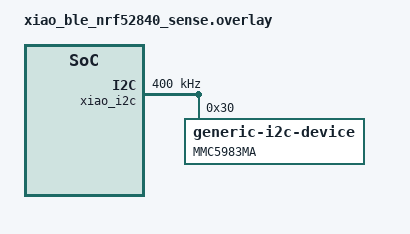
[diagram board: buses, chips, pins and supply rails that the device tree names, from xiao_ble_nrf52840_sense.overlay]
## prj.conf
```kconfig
# ==========================================
# CONFIGURACIÓN DE PRODUCCIÓN (FINAL)
# ==========================================
CONFIG_BT=y
CONFIG_BT_PERIPHERAL=y
CONFIG_BT_DEVICE_NAME="RehabIMU"
CONFIG_BT_MAX_CONN=1
CONFIG_BT_MAX_PAIRED=1
CONFIG_REBOOT=y

# Sensores y Hardware
CONFIG_I2C=y
CONFIG_SENSOR=y
CONFIG_ADC=y
CONFIG_GPIO=y
CONFIG_FPU=y
CONFIG_CBPRINTF_FP_SUPPORT=y

# Ahorro de Energía (Logs desactivados)
CONFIG_LOG=n
CONFIG_PRINTK=n
CONFIG_SERIAL=n
CONFIG_CONSOLE=n
CONFIG_UART_CONSOLE=n
```

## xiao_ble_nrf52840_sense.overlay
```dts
&xiao_i2c {
    status = "okay";
    clock-frequency = <I2C_BITRATE_FAST>;
    
    mmc5983ma@30 {
        compatible = "generic-i2c-device";
        reg = <0x30>;
        label = "MMC5983MA";
    };
};
```

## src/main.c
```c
/** * @file main.c 
 * @brief REHAB IMU — Calibración robusta, beta adaptativo, contadores independientes
 *
 * Cambios principales:
 * 1. Calibración IMU: Comprueba la varianza del giroscopio. Si detecta movimiento 
 * descarta muestras, espera 1 s y reintenta (hasta 5 veces). Fallback a últimas lecturas.
 * 2. Calibración FSR: Comprueba varianza y valor absoluto. Reintenta si hay presión (hasta 3 veces).
 * 3. Beta adaptativo de Madgwick: En reposo baja a 0.033 para reducir el jitter. 
 * Al manipular, sube a 0.1 para mantener reactividad.
 * 4. Contadores de notificación independientes para IMU y FSR.
 *
 * COMPATIBILIDAD: imu_packet_t pasa a 20 bytes (4 floats de quaternion + 1 float de movimiento lineal).
 * Paquete FSR sigue siendo 4 bytes (int32_t). UUIDs y nombre BLE idénticos.
 */ 

#include <zephyr/kernel.h>
#include <zephyr/device.h>
#include <zephyr/drivers/sensor.h>
#include <zephyr/drivers/adc.h>
#include <zephyr/drivers/i2c.h>
#include <zephyr/bluetooth/bluetooth.h>
#include <zephyr/bluetooth/uuid.h>
#include <zephyr/bluetooth/gatt.h>
#include <zephyr/bluetooth/conn.h>
#include <zephyr/bluetooth/services/bas.h>
#include <zephyr/drivers/gpio.h>
#include <zephyr/sys/reboot.h>
#include <math.h>
#include <string.h>

/* --- Parámetros de Madgwick y Beta Adaptativo --- */
/* MADGWICK_BETA_REST: Filtra el ruido del acelerómetro en reposo. */
#define MADGWICK_BETA_REST       0.033f
/* MADGWICK_BETA_MOVING: Reactividad alta para seguir rotaciones rápidas. */
#define MADGWICK_BETA_MOVING     0.1f
/* GYRO_MOTION_THRESHOLD: Por debajo (~8.6°/s) se considera reposo. */
#define GYRO_MOTION_THRESHOLD    0.15f
#define BETA_LERP_RATE           0.05f
#define ACCEL_BASELINE_LERP_RATE 0.02f
#define ACCEL_MOTION_LERP_RATE   0.60f
#define ACCEL_MOTION_DECAY_RATE  0.25f

/* --- Umbrales de Calibración --- */
/* GYRO_VARIANCE_LIMIT: Límite para considerar la IMU en reposo (< 0.01 rad²/s²). */
#define GYRO_VARIANCE_LIMIT      0.01f
#define CALIB_MAX_ATTEMPTS_IMU   5
#define CALIB_MAX_ATTEMPTS_FSR   3
/* FSR_CALIB_MAX_VARIANCE: Varianza máxima permitida para calibrar el FSR. */
#define FSR_CALIB_MAX_VARIANCE   100
/* FSR_CALIB_MAX_MEAN: Si el valor medio supera 200, se asume presión intencional. */
#define FSR_CALIB_MAX_MEAN       200

/* --- Configuración de Hardware --- */
#define BATTERY_READ_INTERVAL_MS 10000
#define VBAT_ENABLE_GPIO_NODE    DT_NODELABEL(gpio0)
#define VBAT_ENABLE_PIN          14

typedef enum { STATE_IDLE, STATE_CONNECTED } system_state_t;
static system_state_t current_state = STATE_IDLE; 
static struct bt_conn *current_conn = NULL; 

/* --- Definición de UUIDs BLE --- */
#define BT_UUID_CUSTOM_SERVICE_VAL BT_UUID_128_ENCODE(0x12345678,0x1234,0x5678,0x1234,0x56789abcdef0) 
#define BT_UUID_CUSTOM_IMU_CHAR_VAL BT_UUID_128_ENCODE(0x12345678,0x1234,0x5678,0x1234,0x56789abcdef1) 
#define BT_UUID_CUSTOM_FSR_CHAR_VAL BT_UUID_128_ENCODE(0x12345678,0x1234,0x5678,0x1234,0x56789abcdef2) 

/* --- Configuración ADC --- */
#define ADC_DEVICE_NODE DT_NODELABEL(adc)
#define ADC_RESOLUTION 12
#define ADC_GAIN ADC_GAIN_1_2 
#define ADC_REFERENCE ADC_REF_INTERNAL
#define ADC_ACQUISITION_TIME ADC_ACQ_TIME_DEFAULT
#define ADC_CHANNEL_ID_FSR 0
#define ADC_CHANNEL_ID_BAT 1 

#ifndef NRF_SAADC_INPUT_AIN1
#define NRF_SAADC_INPUT_AIN1 2
#endif
#ifndef NRF_SAADC_INPUT_AIN7
#define NRF_SAADC_INPUT_AIN7 8
#endif 
#ifndef BT_DATA_TX_POWER_LEVEL
#define BT_DATA_TX_POWER_LEVEL 0x0A
#endif 

/* --- Estructuras de Datos --- */
typedef struct __attribute__((packed)) { 
    float q0, q1, q2, q3;
    float linear_motion;
} imu_packet_t;

typedef struct { 
    float q0, q1, q2, q3; 
    float beta; 
} madgwick_filter_t; 

/* --- Variables Globales --- */
static const struct device *adc_dev = DEVICE_DT_GET(ADC_DEVICE_NODE);
static const struct device *lsm6dsl_dev;
static imu_packet_t current_packet; 
static int32_t current_fsr_value = 0;
static int32_t fsr_offset = 0;
static uint8_t current_battery_level = 100;
static float accel_offset[3] = {0.0f}, gyro_offset[3] = {0.0f};
static bool is_imu_notify_enabled = false;
static bool is_fsr_notify_enabled = false;
static bool is_bat_notify_enabled = false;
static madgwick_filter_t madgwick_state = { .q0 = 1.0f, .beta = MADGWICK_BETA_MOVING };
static float accel_motion_filtered = 0.0f;
static float accel_baseline[3] = {0.0f, 0.0f, 0.0f};
static bool accel_baseline_ready = false;
static int16_t adc_sample_buffer[1]; 

/* --- Secuencias ADC --- */
static const struct adc_channel_cfg fsr_cfg = { 
    .gain = ADC_GAIN, .reference = ADC_REFERENCE, .acquisition_time = ADC_ACQUISITION_TIME, 
    .channel_id = ADC_CHANNEL_ID_FSR, .input_positive = NRF_SAADC_INPUT_AIN1 
};
static struct adc_sequence fsr_seq = { 
    .channels = BIT(ADC_CHANNEL_ID_FSR), .buffer = adc_sample_buffer, 
    .buffer_size = sizeof(adc_sample_buffer), .resolution = ADC_RESOLUTION 
};
static const struct adc_channel_cfg bat_cfg = { 
    .gain = ADC_GAIN_1_6, .reference = ADC_REFERENCE, .acquisition_time = ADC_ACQUISITION_TIME, 
    .channel_id = ADC_CHANNEL_ID_BAT, .input_positive = NRF_SAADC_INPUT_AIN7 
};
static struct adc_sequence bat_seq = { 
    .channels = BIT(ADC_CHANNEL_ID_BAT), .buffer = adc_sample_buffer, 
    .buffer_size = sizeof(adc_sample_buffer), .resolution = ADC_RESOLUTION 
}; 

/* --- Funciones Auxiliares --- */

/**
 * @brief Configura el modo de energía de la IMU.
 */
static void set_imu_power_mode(bool active) { 
    struct sensor_value odr = { .val1 = active ? 104 : 0, .val2 = 0 }; 
    sensor_attr_set(lsm6dsl_dev, SENSOR_CHAN_ACCEL_XYZ, SENSOR_ATTR_SAMPLING_FREQUENCY, &odr); 
    sensor_attr_set(lsm6dsl_dev, SENSOR_CHAN_GYRO_XYZ, SENSOR_ATTR_SAMPLING_FREQUENCY, &odr); 
} 

/**
 * @brief Lee el valor del FSR aplicando el offset de calibración.
 */
static int32_t read_fsr_real(void) { 
    if (adc_read(adc_dev, &fsr_seq) != 0) return 0; 
    int32_t val = (int32_t)adc_sample_buffer[0]; 
    val = (val - fsr_offset);
    if (val < 0) val = 0;
    return val; 
} 

/**
 * @brief Lee el voltaje de la batería y lo convierte a porcentaje (0-100%).
 */
static void read_battery_voltage(void) { 
    if (adc_read(adc_dev, &bat_seq) == 0) { 
        int32_t val = adc_sample_buffer[0]; if(val<0) val=0;
        float mv = ((float)val * 3.6f / 4095.0f) * 2.96f; 
        int lvl = (int)((mv - 3.3f) * 100.0f / (4.2f - 3.3f)); 
        current_battery_level = (uint8_t)(lvl > 100 ? 100 : (lvl < 0 ? 0 : lvl)); 
    } 
} 

/**
 * @brief Algoritmo de Madgwick para 6-DoF.
 */
static void madgwick_update_6dof(madgwick_filter_t *st, float gx, float gy, float gz, float ax, float ay, float az, float dt) { 
    float s0, s1, s2, s3, q0, q1, q2, q3, norm;
    float qDot1, qDot2, qDot3, qDot4;
    float _2q0, _2q1, _2q2, _2q3, _4q0, _4q1, _4q2 ,_8q1, _8q2, q0q0, q1q1, q2q2, q3q3;
    q0 = st->q0; q1 = st->q1; q2 = st->q2; q3 = st->q3; 
    qDot1 = 0.5f * (-q1 * gx - q2 * gy - q3 * gz); qDot2 = 0.5f * ( q0 * gx + q2 * gz - q3 * gy); 
    qDot3 = 0.5f * ( q0 * gy - q1 * gz + q3 * gx); qDot4 = 0.5f * ( q0 * gz + q1 * gy - q2 * gx); 
    
    if(!((ax == 0.0f) && (ay == 0.0f) && (az == 0.0f))) { 
        norm = 1.0f / sqrtf(ax * ax + ay * ay + az * az + 0.0001f); ax *= norm; ay *= norm; az *= norm; 
        _2q0 = 2.0f * q0; _2q1 = 2.0f * q1; _2q2 = 2.0f * q2; _2q3 = 2.0f * q3; _4q0 = 4.0f * q0; _4q1 = 4.0f * q1; _4q2 = 4.0f * q2; _8q1 = 8.0f * q1; _8q2 = 8.0f * q2; 
        q0q0 = q0 * q0; q1q1 = q1 * q1; q2q2 = q2 * q2; q3q3 = q3 * q3; 
        s0 = _4q0 * q2q2 + _2q2 * ax + _4q0 * q1q1 - _2q1 * ay; 
        s1 = _4q1 * q3q3 - _2q3 * ax + 4.0f * q0q0 * q1 - _2q0 * ay - _4q1 + _8q1 * q1q1 + _8q1 * q2q2 + _4q1 * az; 
        s2 = 4.0f * q0q0 * q2 + _2q0 * ax + _4q2 * q3q3 - _2q3 * ay - _4q2 + _8q2 * q1q1 + _8q2 * q2q2 + _4q2 * az; 
        s3 = 4.0f * q1q1 * q3 - _2q1 * ax + 4.0f * q2q2 * q3 - _2q2 * ay; 
        norm = 1.0f / sqrtf(s0 * s0 + s1 * s1 + s2 * s2 + s3 * s3); 
        qDot1 -= st->beta * s0 * norm; qDot2 -= st->beta * s1 * norm; qDot3 -= st->beta * s2 * norm; qDot4 -= st->beta * s3 * norm; 
    } 
    q0 += qDot1 * dt; q1 += qDot2 * dt; q2 += qDot3 * dt; q3 += qDot4 * dt; 
    norm = 1.0f / sqrtf(q0 * q0 + q1 * q1 + q2 * q2 + q3 * q3); 
    st->q0 = q0 * norm; st->q1 = q1 * norm; st->q2 = q2 * norm; st->q3 = q3 * norm; 
} 

/**
 * @brief Calibración inicial robusta de la IMU.
 * Evalúa la varianza en reposo. Si se detecta movimiento (ruido excesivo), reintenta.
 * @return true si se calibró en reposo limpio, false si se usaron las últimas lecturas (fallback).
 */
static bool calibrate_sensors_at_rest(void) { 
    struct sensor_value r[3];
    float t_g[3], t_a[3], sq_g[3];

    set_imu_power_mode(true);
    k_sleep(K_SECONDS(2));

    for (int attempt = 0; attempt < CALIB_MAX_ATTEMPTS_IMU; attempt++) {
        memset(t_g,  0, sizeof(t_g));
        memset(t_a,  0, sizeof(t_a));
        memset(sq_g, 0, sizeof(sq_g));

        for (int i = 0; i < 200; i++) {
            sensor_sample_fetch(lsm6dsl_dev);

            sensor_channel_get(lsm6dsl_dev, SENSOR_CHAN_GYRO_XYZ, r);
            for (int ax = 0; ax < 3; ax++) {
                float v = (float)sensor_value_to_double(&r[ax]);
                t_g[ax]  += v;
                sq_g[ax] += v * v;
            }

            sensor_channel_get(lsm6dsl_dev, SENSOR_CHAN_ACCEL_XYZ, r);
            for (int ax = 0; ax < 3; ax++) {
                t_a[ax] += (float)sensor_value_to_double(&r[ax]);
            }

            k_sleep(K_MSEC(5));
        }

        /* Varianza total del giroscopio (suma de los 3 ejes) */
        float gyro_var_sum = 0.0f;
        for (int ax = 0; ax < 3; ax++) {
            float mean = t_g[ax] / 200.0f;
            gyro_var_sum += (sq_g[ax] / 200.0f) - (mean * mean);
        }

        if (gyro_var_sum < GYRO_VARIANCE_LIMIT) {
            /* Reposo confirmado -> aplicar offsets */
            for (int ax = 0; ax < 3; ax++) {
                gyro_offset[ax]  = t_g[ax] / 200.0f;
                accel_offset[ax] = t_a[ax] / 200.0f;
            }
            accel_offset[2] -= 9.80665f;
            return true;
        }

        /* Movimiento detectado -> esperar y reintentar */
        k_sleep(K_SECONDS(1));
    }

    /* Fallback: usar las últimas lecturas si se agotaron los intentos */
    for (int ax = 0; ax < 3; ax++) {
        gyro_offset[ax]  = t_g[ax] / 200.0f;
        accel_offset[ax] = t_a[ax] / 200.0f;
    }
    accel_offset[2] -= 9.80665f;
    return false;
}

/**
 * @brief Calibración de FSR. Evita offsets erróneos si hay presión aplicada al encender.
 */
static void calibrate_fsr(void) {
    long s = 0;

    for (int attempt = 0; attempt < CALIB_MAX_ATTEMPTS_FSR; attempt++) {
        s = 0;
        long s_sq = 0;

        for (int i = 0; i < 50; i++) {
            adc_read(adc_dev, &fsr_seq);
            int32_t v = (int32_t)adc_sample_buffer[0];
            s    += v;
            s_sq += (long)v * v;
            k_sleep(K_MSEC(10));
        }

        long mean = s / 50;
        long var  = (s_sq / 50) - (mean * mean);

        if (var < FSR_CALIB_MAX_VARIANCE && mean < FSR_CALIB_MAX_MEAN) {
            break; /* Offset válido, sin presión */
        }

        k_sleep(K_MSEC(500));
    }

    fsr_offset = (int32_t)(s / 50);
}

/* --- Callbacks GATT y Definición de Servicios BLE --- */
static ssize_t read_imu(struct bt_conn *c, const struct bt_gatt_attr *a, void *b, uint16_t l, uint16_t o) { return bt_gatt_attr_read(c, a, b, l, o, &current_packet, sizeof(current_packet)); } 
static void imu_ccc(const struct bt_gatt_attr *attr, uint16_t val) { is_imu_notify_enabled = (val == BT_GATT_CCC_NOTIFY); } 
static ssize_t read_fsr(struct bt_conn *c, const struct bt_gatt_attr *a, void *b, uint16_t l, uint16_t o) { return bt_gatt_attr_read(c, a, b, l, o, &current_fsr_value, sizeof(current_fsr_value)); } 
static void fsr_ccc(const struct bt_gatt_attr *attr, uint16_t val) { is_fsr_notify_enabled = (val == BT_GATT_CCC_NOTIFY); } 
static ssize_t read_bat(struct bt_conn *c, const struct bt_gatt_attr *a, void *b, uint16_t l, uint16_t o) { return bt_gatt_attr_read(c, a, b, l, o, &current_battery_level, sizeof(current_battery_level)); } 
static void bat_ccc(const struct bt_gatt_attr *attr, uint16_t val) { is_bat_notify_enabled = (val == BT_GATT_CCC_NOTIFY); } 

BT_GATT_SERVICE_DEFINE(custom_svc,
    BT_GATT_PRIMARY_SERVICE(BT_UUID_DECLARE_128(BT_UUID_CUSTOM_SERVICE_VAL)),
    BT_GATT_CHARACTERISTIC(BT_UUID_DECLARE_128(BT_UUID_CUSTOM_IMU_CHAR_VAL), BT_GATT_CHRC_READ | BT_GATT_CHRC_NOTIFY, BT_GATT_PERM_READ, read_imu, NULL, &current_packet), BT_GATT_CCC(imu_ccc, BT_GATT_PERM_READ | BT_GATT_PERM_WRITE), 
    BT_GATT_CHARACTERISTIC(BT_UUID_DECLARE_128(BT_UUID_CUSTOM_FSR_CHAR_VAL), BT_GATT_CHRC_READ | BT_GATT_CHRC_NOTIFY, BT_GATT_PERM_READ, read_fsr, NULL, &current_fsr_value), BT_GATT_CCC(fsr_ccc, BT_GATT_PERM_READ | BT_GATT_PERM_WRITE) 
); 
BT_GATT_SERVICE_DEFINE(batt_svc, BT_GATT_PRIMARY_SERVICE(BT_UUID_BAS), BT_GATT_CHARACTERISTIC(BT_UUID_BAS_BATTERY_LEVEL, BT_GATT_CHRC_READ | BT_GATT_CHRC_NOTIFY, BT_GATT_PERM_READ, read_bat, NULL, &current_battery_level), BT_GATT_CCC(bat_ccc, BT_GATT_PERM_READ | BT_GATT_PERM_WRITE) ); 

static const struct bt_data ad[] = { BT_DATA_BYTES(BT_DATA_FLAGS, (BT_LE_AD_GENERAL | BT_LE_AD_NO_BREDR)), BT_DATA_BYTES(BT_DATA_UUID128_ALL, BT_UUID_CUSTOM_SERVICE_VAL), BT_DATA_BYTES(BT_DATA_TX_POWER_LEVEL, 0x00) }; 
static const struct bt_data sd[] = { BT_DATA(BT_DATA_NAME_COMPLETE, "RehabBlue", 10) }; 
static const struct bt_le_adv_param adv_param = BT_LE_ADV_PARAM_INIT(BT_LE_ADV_OPT_CONN, BT_GAP_ADV_FAST_INT_MIN_2, BT_GAP_ADV_FAST_INT_MAX_2, NULL); 

static void connected(struct bt_conn *c, uint8_t e) { 
    if(!e) { current_state = STATE_CONNECTED; if(!current_conn) current_conn = bt_conn_ref(c); set_imu_power_mode(true); } 
} 
static void disconnected(struct bt_conn *c, uint8_t r) { 
    set_imu_power_mode(false); if(current_conn) { bt_conn_unref(current_conn); current_conn = NULL; } sys_reboot(SYS_REBOOT_COLD); 
} 
BT_CONN_CB_DEFINE(cb) = { .connected = connected, .disconnected = disconnected }; 

/* --- Loop Principal --- */
int main(void) { 
    /* Inicialización de periféricos */
    lsm6dsl_dev = DEVICE_DT_GET_ONE(st_lsm6dsl); 
    const struct device *gpio_dev = DEVICE_DT_GET(VBAT_ENABLE_GPIO_NODE); 
    
    if (device_is_ready(gpio_dev)) {
        gpio_pin_configure(gpio_dev, VBAT_ENABLE_PIN, GPIO_OUTPUT_ACTIVE | GPIO_ACTIVE_LOW);
        gpio_pin_set(gpio_dev, VBAT_ENABLE_PIN, 1);
    } 

    if (device_is_ready(adc_dev)) {
        adc_channel_setup(adc_dev, &fsr_cfg);
        adc_channel_setup(adc_dev, &bat_cfg);
        calibrate_fsr();
    } 

    if (device_is_ready(lsm6dsl_dev)) {
        calibrate_sensors_at_rest();
        set_imu_power_mode(false);
    } 

    /* Inicialización de Bluetooth */
    bt_enable(NULL);
    bt_le_adv_start(&adv_param, ad, ARRAY_SIZE(ad), sd, ARRAY_SIZE(sd)); 
    
    struct sensor_value a[3], g[3];
    int64_t last_bat = 0, last_time = k_uptime_get();

    /* Contadores para controlar la frecuencia de notificación independiente */
    int imu_notify_cnt = 0;
    int fsr_notify_cnt = 0;

    while (1) { 
        int64_t now = k_uptime_get();
        float dt = (float)(now - last_time) / 1000.0f;
        last_time = now; 
        
        if (dt <= 0) dt = 0.001f; 
        if (dt > 0.1f) dt = 0.1f; 
        
        if (current_state == STATE_CONNECTED) { 

            /* --- Monitor de Batería --- */
            if (now - last_bat > BATTERY_READ_INTERVAL_MS) {
                read_battery_voltage();
                if (is_bat_notify_enabled)
                    bt_gatt_notify(NULL, &batt_svc.attrs[1], &current_battery_level, 1);
                last_bat = now;
            }

            /* --- Lectura FSR --- */
            current_fsr_value = read_fsr_real(); 

            /* --- Lectura IMU y actualización Madgwick --- */
            if (sensor_sample_fetch(lsm6dsl_dev) == 0
                && sensor_channel_get(lsm6dsl_dev, SENSOR_CHAN_ACCEL_XYZ, a) == 0
                && sensor_channel_get(lsm6dsl_dev, SENSOR_CHAN_GYRO_XYZ, g) == 0)
            { 
                float gx = (float)sensor_value_to_double(&g[0]) - gyro_offset[0];
                float gy = (float)sensor_value_to_double(&g[1]) - gyro_offset[1];
                float gz = (float)sensor_value_to_double(&g[2]) - gyro_offset[2]; 
                float ax = (float)sensor_value_to_double(&a[0]) - accel_offset[0];
                float ay = (float)sensor_value_to_double(&a[1]) - accel_offset[1];
                float az = (float)sensor_value_to_double(&a[2]) - accel_offset[2]; 

                /* Estimación de movimiento lineal (sin gravedad) */
                if (!accel_baseline_ready) {
                    accel_baseline[0] = ax;
                    accel_baseline[1] = ay;
                    accel_baseline[2] = az;
                    accel_baseline_ready = true;
                } else {
                    accel_baseline[0] += (ax - accel_baseline[0]) * ACCEL_BASELINE_LERP_RATE;
                    accel_baseline[1] += (ay - accel_baseline[1]) * ACCEL_BASELINE_LERP_RATE;
                    accel_baseline[2] += (az - accel_baseline[2]) * ACCEL_BASELINE_LERP_RATE;
                }

                float dax = ax - accel_baseline[0];
                float day = ay - accel_baseline[1];
                float daz = az - accel_baseline[2];
                float accel_motion = sqrtf(dax*dax + day*day + daz*daz);
                float lerp = (accel_motion > accel_motion_filtered) ? ACCEL_MOTION_LERP_RATE : ACCEL_MOTION_DECAY_RATE;
                accel_motion_filtered += (accel_motion - accel_motion_filtered) * lerp;
                current_packet.linear_motion = accel_motion_filtered;

                /* Ajuste de beta dinámico según magnitud de rotación */
                float gyro_mag = sqrtf(gx*gx + gy*gy + gz*gz);
                float target_beta = (gyro_mag < GYRO_MOTION_THRESHOLD)
                                  ? MADGWICK_BETA_REST
                                  : MADGWICK_BETA_MOVING;
                madgwick_state.beta += (target_beta - madgwick_state.beta) * BETA_LERP_RATE;

                madgwick_update_6dof(&madgwick_state, gx, gy, gz, ax, ay, az, dt); 

                /* Normalizar el cuaternión saliente para el paquete BLE */
                float qN = sqrtf(madgwick_state.q0*madgwick_state.q0
                               + madgwick_state.q1*madgwick_state.q1
                               + madgwick_state.q2*madgwick_state.q2
                               + madgwick_state.q3*madgwick_state.q3); 
                if (qN > 0.0f) { 
                    current_packet.q0 = madgwick_state.q0 / qN;
                    current_packet.q1 = madgwick_state.q1 / qN;
                    current_packet.q2 = madgwick_state.q2 / qN;
                    current_packet.q3 = madgwick_state.q3 / qN; 
                } 

                /* --- Despacho de notificaciones BLE --- */
                imu_notify_cnt++;
                fsr_notify_cnt++;

                /* Envía paquete IMU (~33 Hz con loop de 10ms) */
                if (is_imu_notify_enabled && (imu_notify_cnt % 3 == 0))
                    bt_gatt_notify(NULL, &custom_svc.attrs[2],
                                   &current_packet, sizeof(current_packet));

                /* Envía paquete FSR (~10 Hz con loop de 10ms) */
                if (is_fsr_notify_enabled && (fsr_notify_cnt % 10 == 0))
                    bt_gatt_notify(NULL, &custom_svc.attrs[5],
                                   &current_fsr_value, 4);
            }

            k_sleep(K_MSEC(10)); 
        } else {
            k_sleep(K_SECONDS(1));
        }
    }

    return 0; 
}
```
